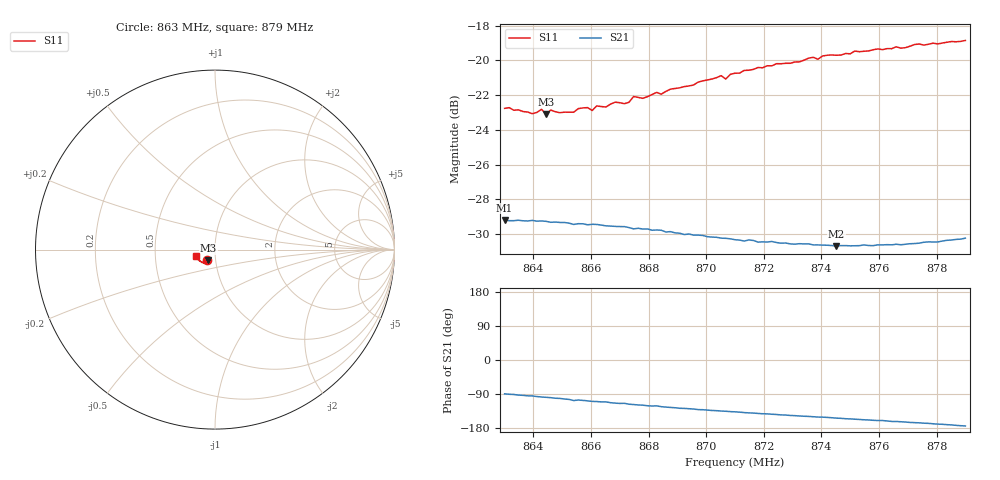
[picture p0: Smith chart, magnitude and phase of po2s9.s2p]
# HZ S RI R 50
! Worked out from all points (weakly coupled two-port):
!   101 points, 863 MHz to 879 MHz, reference 50 ohm
!   highest |S21| = -29.19 dB at 863 MHz (marker M1); lowest = -30.7 dB at 874.52 MHz (marker M2)
!   lowest |S11| = -23.1 dB at 864.44 MHz (marker M3), VSWR 1.15, Z = 46 - j5.45 ohm
!   |S11| at or under -10 dB: start of sweep to end of sweep
!   S12 and S22 are empty: the file has one direction only
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8.63e8  -0.0426 -0.059  0.000431 -0.0347  0 0  0 0
8.6396e8  -0.039 -0.0584  -0.00288 -0.0345  0 0  0 0
8.6428e8  -0.0382 -0.0614  -0.0046 -0.0342  0 0  0 0
8.6444e8  -0.0379 -0.0589  -0.00507 -0.034  0 0  0 0
8.646e8  -0.0385 -0.0607  -0.00557 -0.0337  0 0  0 0
8.654e8  -0.0363 -0.0609  -0.00987 -0.0322  0 0  0 0
8.6572e8  -0.0362 -0.0634  -0.00969 -0.0324  0 0  0 0
8.6604e8  -0.0363 -0.0618  -0.0111 -0.0319  0 0  0 0
8.662e8  -0.0389 -0.0629  -0.0113 -0.0318  0 0  0 0
8.6732e8  -0.0374 -0.0659  -0.0148 -0.0295  0 0  0 0
8.6748e8  -0.0396 -0.068  -0.0152 -0.029  0 0  0 0
8.678e8  -0.0388 -0.0674  -0.016 -0.0285  0 0  0 0
8.6828e8  -0.0399 -0.0703  -0.0167 -0.0279  0 0  0 0
8.6844e8  -0.0401 -0.0691  -0.0178 -0.0271  0 0  0 0
8.7052e8  -0.0519 -0.0739  -0.0217 -0.0219  0 0  0 0
8.7068e8  -0.0499 -0.0729  -0.0218 -0.0217  0 0  0 0
8.71e8  -0.0545 -0.0739  -0.0222 -0.0209  0 0  0 0
8.7372e8  -0.0724 -0.0718  -0.0254 -0.0148  0 0  0 0
8.7388e8  -0.0726 -0.0698  -0.0256 -0.0145  0 0  0 0
8.7452e8  -0.0791 -0.0666  -0.0261 -0.0131  0 0  0 0
8.7644e8  -0.0918 -0.0568  -0.028 -0.00903  0 0  0 0
8.79e8  -0.108 -0.0366  -0.0306 -0.00317  0 0  0 0
